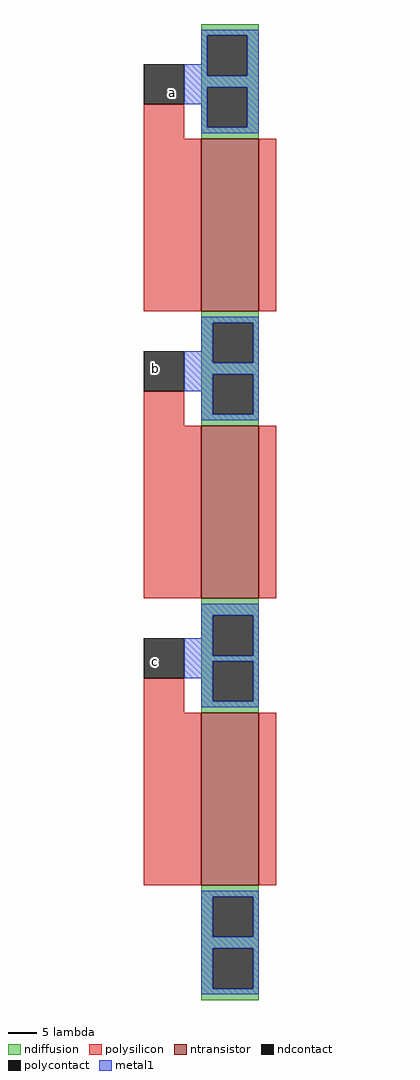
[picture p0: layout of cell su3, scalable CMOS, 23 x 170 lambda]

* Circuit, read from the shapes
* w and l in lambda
.subckt su3 a b c
M1 c c n1 VSUBS nfet w=10 l=30
M2 b b c VSUBS nfet w=10 l=30
M3 a a b VSUBS nfet w=10 l=30
.ends

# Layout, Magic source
magic
tech scmos
<< ntransistor >>
rect -18 192 -8 222
rect -18 142 -8 172
rect -18 92 -8 122
<< ndiffusion >>
rect -18 240 -8 242
rect -18 233 -17 240
rect -10 233 -8 240
rect -18 231 -8 233
rect -18 224 -17 231
rect -10 224 -8 231
rect -18 222 -8 224
rect -18 190 -8 192
rect -18 183 -16 190
rect -9 183 -8 190
rect -18 181 -8 183
rect -18 174 -16 181
rect -9 174 -8 181
rect -18 172 -8 174
rect -18 139 -8 142
rect -18 132 -16 139
rect -9 132 -8 139
rect -18 131 -8 132
rect -18 124 -16 131
rect -9 124 -8 131
rect -18 122 -8 124
rect -18 90 -8 92
rect -18 83 -16 90
rect -9 83 -8 90
rect -18 81 -8 83
rect -18 74 -16 81
rect -9 74 -8 81
rect -18 72 -8 74
<< ndcontact >>
rect -17 233 -10 240
rect -17 224 -10 231
rect -16 183 -9 190
rect -16 174 -9 181
rect -16 132 -9 139
rect -16 124 -9 131
rect -16 83 -9 90
rect -16 74 -9 81
<< polysilicon >>
rect -28 222 -21 228
rect -28 192 -18 222
rect -8 192 -5 222
rect -28 172 -21 178
rect -28 142 -18 172
rect -8 142 -5 172
rect -28 122 -21 128
rect -28 92 -18 122
rect -8 92 -5 122
<< polycontact >>
rect -28 228 -21 235
rect -28 178 -21 185
rect -28 128 -21 135
<< metal1 >>
rect -18 240 -8 241
rect -18 235 -17 240
rect -21 233 -17 235
rect -10 233 -8 240
rect -21 231 -8 233
rect -21 228 -17 231
rect -18 224 -17 228
rect -10 224 -8 231
rect -18 223 -8 224
rect -18 190 -8 191
rect -18 185 -16 190
rect -21 183 -16 185
rect -9 183 -8 190
rect -21 181 -8 183
rect -21 178 -16 181
rect -18 174 -16 178
rect -9 174 -8 181
rect -18 173 -8 174
rect -18 139 -8 141
rect -18 135 -16 139
rect -21 132 -16 135
rect -9 132 -8 139
rect -21 131 -8 132
rect -21 128 -16 131
rect -18 124 -16 128
rect -9 124 -8 131
rect -18 123 -8 124
rect -18 90 -8 91
rect -18 83 -16 90
rect -9 83 -8 90
rect -18 81 -8 83
rect -18 74 -16 81
rect -9 74 -8 81
rect -18 73 -8 74
<< labels >>
rlabel polycontact -23 230 -23 230 3 a
rlabel polycontact -26 182 -26 182 3 b
rlabel polycontact -26 131 -26 131 3 c
<< end >>
